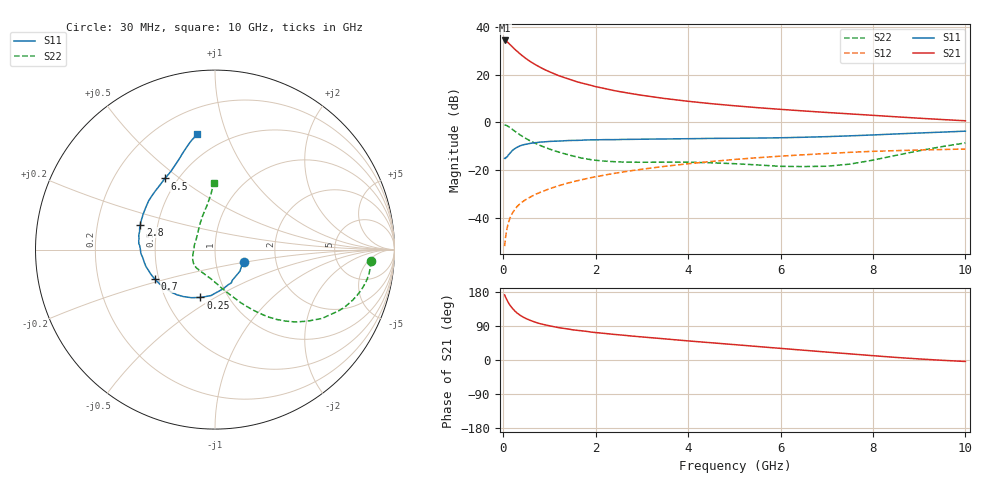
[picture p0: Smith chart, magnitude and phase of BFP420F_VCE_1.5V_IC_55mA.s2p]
! Infineon Technologies  Discrete & RF Semiconductors
! BFP420F
! VCE =  1.5 V,  IC =  55 mA
! Common Emitter S-Parameters:  Sep 2011
# GHz  S  MA  R  50
!  f  S11  S21  S12  S22
! GHz  MAG  ANG  MAG  ANG  MAG  ANG  MAG  ANG
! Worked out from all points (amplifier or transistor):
!   54 points, 30 MHz to 10 GHz, reference 50 ohm
!   highest |S21| = 34.4 dB at 30 MHz (marker M1)
!   |S21| within 3 dB of that: start of sweep to 214.4 MHz
!   unconditionally stable (mu >= 1): 1.057 GHz to end of sweep
!   at 120 MHz: K = 0.51, MSG = 37.5 dB, |S12| = -41.7 dB
!   at 1.3 GHz: K = 1.06, MAG = 21.0 dB, |S12| = -26.1 dB
!   at 10 GHz: K = 1.23, MAG = 3.0 dB, |S12| = -11.2 dB
!   S11 on the Smith chart (normalised r, x): 30 MHz: 1.37, -0.19; 250 MHz: 0.74, -0.43; 700 MHz: 0.47, -0.18; 2.8 GHz: 0.40, +0.14; 6.5 GHz: 0.43, +0.44; 10 GHz: 0.36, +0.79
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0.03  0.1746 -22.8  52.34 171.8  0.0025 89.2  0.8707 -4.2
0.07  0.185 -46.3  50.1 161.1  0.0051 81.8  0.8566 -12.9
0.1  0.197 -61.1  47.61 153.8  0.007 79.5  0.8276 -18.5
0.12  0.2091 -69.3  45.63 149.4  0.0082 77.7  0.8051 -21.8
0.15  0.2261 -80.5  42.66 143.9  0.0099 76.2  0.7683 -26.4
0.2  0.2573 -95.1  38.25 136.1  0.0125 73.0  0.7085 -32.8
0.25  0.2789 -107.0  34.26 129.5  0.0147 71.0  0.6508 -37.8
0.3  0.2987 -116.2  31.04 124.0  0.017 69.7  0.6013 -42.1
0.35  0.3153 -123.9  28.08 119.4  0.0189 68.8  0.5557 -45.7
0.45  0.3396 -135.5  23.48 112.0  0.0225 67.4  0.4829 -51.3
0.6  0.3627 -147.8  18.48 103.9  0.0274 66.8  0.3995 -57.7
0.7  0.3736 -154.1  16.18 99.5  0.0307 66.7  0.3599 -61.1
0.9  0.3886 -162.9  12.73 92.9  0.0369 66.8  0.2977 -67.2
1.2  0.4033 -172.5  9.553 85.4  0.0465 66.6  0.237 -76.3
1.7  0.4203 177.0  6.67 77.0  0.0622 65.6  0.1771 -91.6
2.8  0.4384 161.5  3.964 63.0  0.0971 60.9  0.1451 -122.7
3.5  0.4465 153.7  3.156 55.7  0.119 57.2  0.1452 -134.9
5.5  0.4662 135.3  2.03 35.6  0.1801 44.1  0.1272 -166.5
6.5  0.4849 125.1  1.731 25.8  0.2078 37.1  0.1176 166.9
7  0.4992 119.7  1.609 20.9  0.2209 33.4  0.1193 151.6
8.5  0.5692 108.2  1.304 6.8  0.254 21.9  0.2022 109.7
10  0.6511 98.7  1.076 -3.9  0.2746 12.6  0.3685 91.2
